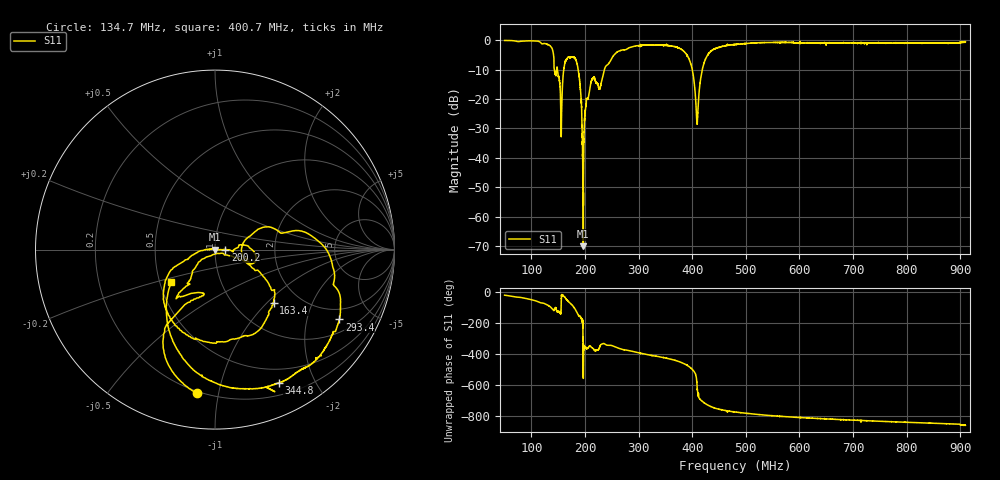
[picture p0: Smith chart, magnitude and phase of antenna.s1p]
! Calibrated NanoVNA antenna measurement, band-limited to the calibrated dynamic range
! Samples with nonfinite or |Gamma| >= 1 were excluded; see broadband-excluded.json
# Hz S RI R 50
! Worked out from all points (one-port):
!   29907 points, 50 MHz to 909.8 MHz, reference 50 ohm
!   lowest |S11| = -70.1 dB at 196.9 MHz (marker M1), VSWR 1.00, Z = 50 - j0.0256 ohm
!   |S11| at or under -10 dB: 148.5 MHz to 160.4 MHz (11.91 MHz wide, 7.71 % of centre); 187.3 MHz to 236.3 MHz (48.99 MHz wide, 23.1 % of centre); 400.2 MHz to 418.9 MHz (18.69 MHz wide, 4.56 % of centre)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
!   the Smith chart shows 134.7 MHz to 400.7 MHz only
!   S11 on the Smith chart (normalised r, x): 134.7 MHz: 0.19, -0.86; 163.4 MHz: 1.49, -1.09; 200.2 MHz: 1.12, +0.00; 293.4 MHz: 1.50, -3.17; 344.8 MHz: 0.33, -1.53; 400.7 MHz: 0.58, -0.22
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5e7  0.9088 -0.391
1.006288e8  0.5869 -0.778
1.347262e8  -0.1006 -0.7999
1.507975e8  -0.1546 -0.1871
1.574962e8  0.1239 -0.047
1.634475e8  0.3271 -0.295
1.75695e8  0.0306 -0.5143
1.844925e8  -0.2813 -0.3112
1.894662e8  -0.2122 -0.0883
1.937212e8  -0.068 -0.00495
1.968838e8  -0.000182 -0.000256
2.0019e8  0.0584 0.00016
2.032662e8  0.1003 -0.015
2.134725e8  0.218 -0.0135
2.277325e8  0.1496 0.0166
2.649638e8  0.6545 -0.0891
2.933688e8  0.693 -0.3894
3.448312e8  0.3544 -0.7435
3.724312e8  0.0278 -0.7522
4.006925e8  -0.2415 -0.1765
4.0949e8  0.0025 0.0374
4.18805e8  0.3069 0.0685
4.286088e8  0.5453 -0.1028
4.798988e8  0.4675 -0.7027
5.87395e8  0.0145 -0.9157
6.948625e8  -0.2775 -0.856
8.0233e8  -0.4843 -0.7451
9.097975e8  -0.7441 -0.5844
